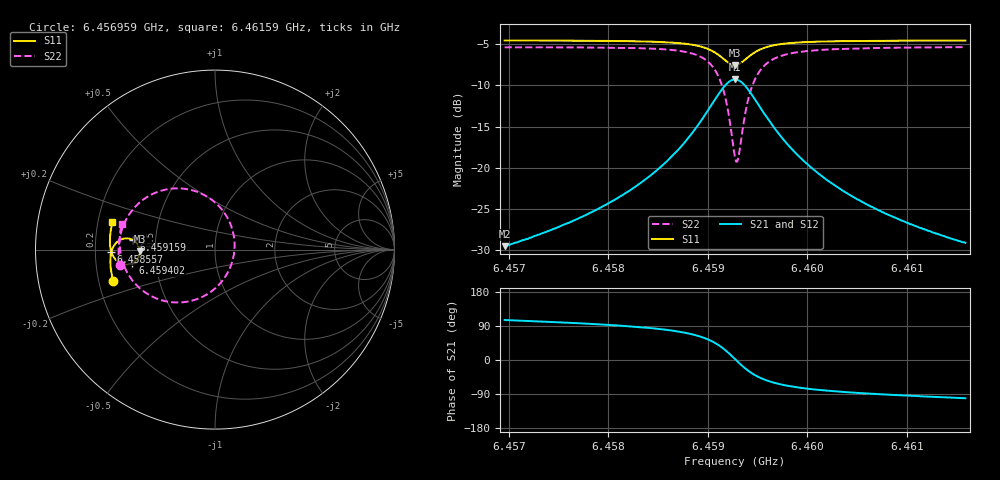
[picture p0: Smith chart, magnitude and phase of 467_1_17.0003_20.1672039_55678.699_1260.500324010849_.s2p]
#  HZ  S  RI  R  50.00
! Rohde & Schwarz Vector Network Analyzer
! Rohde-Schwarz,ZNB20-2Port,1311601062101988,3.16
! Created: UTC 3/20/2024, 11:13:00 PM
! freq[Hz]  re:S11  im:S11  re:S21  im:S21  re:S12  im:S12  re:S22  im:S22
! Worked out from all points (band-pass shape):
!   401 points, 6.456959 GHz to 6.46159 GHz, reference 50 ohm
!   highest |S21| = -9.29 dB at 6.459275 GHz (marker M1); lowest = -29.5 dB at 6.456959 GHz (marker M2)
!   |S21| within 3 dB of the highest: 6.459044 GHz to 6.459507 GHz (463.1 kHz wide, 0.00717 % of centre)
!   lowest |S11| = -7.5 dB at 6.459275 GHz (marker M3), VSWR 2.44, Z = 20.5 - j0.505 ohm
!   |S11| at or under -10 dB: nowhere
!   |S22| runs from -19.3 to -5.4 dB; largest |S21 - S12| = 0.013
!   S11 on the Smith chart (normalised r, x): 6.456959 GHz: 0.26, -0.14; 6.458557 GHz: 0.27, -0.01; 6.459159 GHz: 0.37, +0.05; 6.459402 GHz: 0.37, -0.07; 6.46159 GHz: 0.26, +0.12
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6.4569595e9  -0.5663 -0.1735  -0.00906 0.0322  -0.00723 0.0322  -0.5314 -0.0865
6.4577351e9  -0.5805 -0.1059  -0.00575 0.05  -0.00314 0.0495  -0.5372 0.00378
6.4581865e9  -0.5835 -0.0606  0.000712 0.0708  0.00408 0.0694  -0.5284 0.0755
6.4585107e9  -0.5799 -0.0218  0.0139 0.0981  0.0178 0.0953  -0.5042 0.1488
6.458557e9  -0.5785 -0.0154  0.0173 0.1035  0.0213 0.1004  -0.4979 0.1618
6.4587653e9  -0.5664 0.0162  0.0431 0.1351  0.0473 0.1302  -0.4493 0.2333
6.4589274e9  -0.5429 0.0447  0.0904 0.1675  0.0935 0.1608  -0.3624 0.3021
6.4590663e9  -0.4992 0.0622  0.1769 0.1842  0.1778 0.1768  -0.2043 0.3412
6.4591589e9  -0.455 0.0523  0.2663 0.1534  0.2665 0.1475  -0.0389 0.292
6.4592052e9  -0.4341 0.0337  0.3096 0.111  0.3109 0.1058  0.0439 0.2165
6.4592747e9  -0.4192 -0.0102  0.343 0.0148  0.3467 0.00794  0.1089 0.0379
6.4592863e9  -0.4196 -0.0181  0.3429 -0.00288  0.3467 -0.0105  0.1087 0.00452
6.4593094e9  -0.423 -0.0336  0.3373 -0.0374  0.3413 -0.0464  0.098 -0.0609
6.459402e9  -0.4604 -0.0758  0.2675 -0.1381  0.2667 -0.1512  -0.0434 -0.2485
6.4594483e9  -0.4831 -0.0826  0.2233 -0.1605  0.2195 -0.1732  -0.1321 -0.2854
6.4595062e9  -0.5081 -0.0817  0.1742 -0.1699  0.1676 -0.181  -0.229 -0.294
6.4596567e9  -0.5493 -0.0599  0.0914 -0.1536  0.0829 -0.1595  -0.3863 -0.2405
6.4598188e9  -0.5696 -0.0325  0.0491 -0.1261  0.0416 -0.1286  -0.462 -0.1695
6.4600503e9  -0.5811 0.00126  0.0222 -0.0965  0.0163 -0.0971  -0.506 -0.0918
6.4604092e9  -0.5855 0.0435  0.00597 -0.0692  0.00185 -0.0688  -0.5277 -0.0108
6.4608259e9  -0.5836 0.0852  -0.00151 -0.0515  -0.00425 -0.0507  -0.5314 0.0549
6.4615899e9  -0.5712 0.1528  -0.0066 -0.0344  -0.00828 -0.0333  -0.52 0.1448
